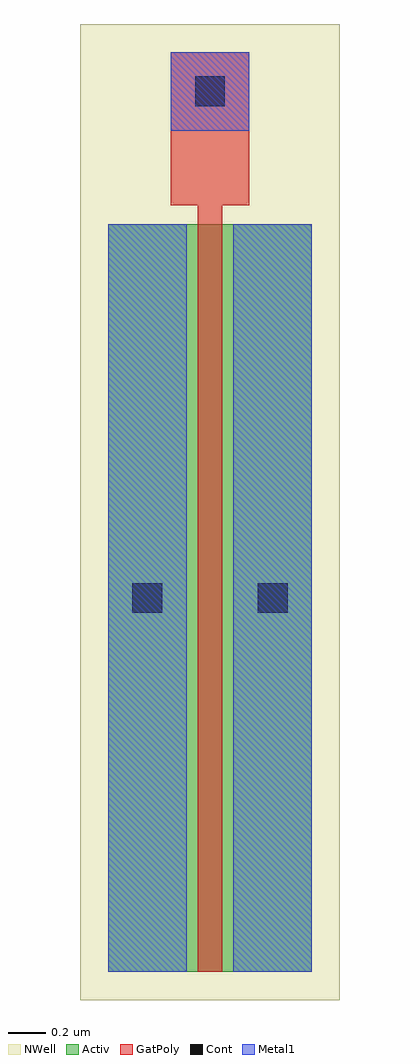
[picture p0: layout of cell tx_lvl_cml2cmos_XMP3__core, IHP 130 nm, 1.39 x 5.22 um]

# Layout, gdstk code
import gdstk
lib = gdstk.Library(unit=1e-6, precision=1e-09)
def R(c, l, rs):  # rectangles x0, y0, x1, y1
    for r in rs: c.add(gdstk.rectangle(r[:2], r[2:], *l))
Activ = (1, 0)
GatPoly = (5, 0)
Cont = (6, 0)
Metal1 = (8, 0)
NWell = (31, 0)

tx_lvl_cml2cmos_xmp3__co = lib.new_cell('tx_lvl_cml2cmos_XMP3__core')
R(tx_lvl_cml2cmos_xmp3__co, Activ, [(0,0,1.09,4)])
R(tx_lvl_cml2cmos_xmp3__co, GatPoly, [(0.48,0,0.61,4), (0.48,4,0.61,4.1), (0.335,4.1,0.755,4.92)])
R(tx_lvl_cml2cmos_xmp3__co, Cont, [(0.13,1.92,0.29,2.08), (0.8,1.92,0.96,2.08), (0.465,4.63,0.625,4.79)])
R(tx_lvl_cml2cmos_xmp3__co, Metal1, [(0,0,0.42,4), (0.67,0,1.09,4), (0.335,4.5,0.755,4.92)])
R(tx_lvl_cml2cmos_xmp3__co, NWell, [(-0.15,-0.15,1.24,5.07)])

lib.write_gds('tx_lvl_cml2cmos_XMP3__core.gds')
